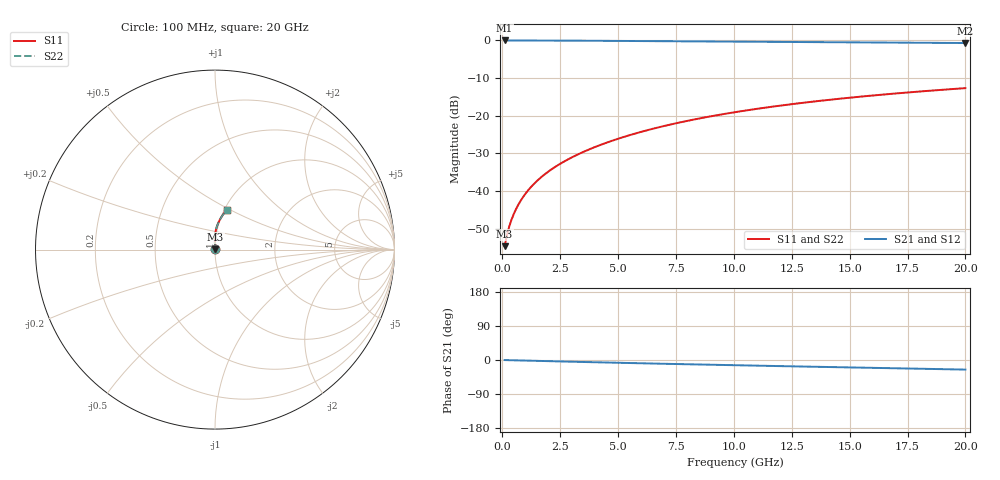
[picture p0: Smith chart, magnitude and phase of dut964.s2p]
! Touchstone file exported from HFSS 2024.1.0
!  File:  C:/UserFiles/LocalFiles/RDL_TSV_Batchsim/temp_RDL_top_964_1779938551.aedt
!  Generated:  11:24:54 AM May 28, 2026
!  Design:  RDL_top
!  Project:  temp_RDL_top_964_1779938551
!  Setup:  Setup1
!  Solution:  Sweep
! Variables:
!  dtsv = 10.80580581um
!  hbump = 3um
!  htsv = 64.12um
!  ldown = 100um
!  lrdl = 351.26um
!  p = 40
!  p1 = 51.87um
!  rhole = 1um
!  t = 450um
!  tdown = 3.915915916um
!  trdl = 3.55um
!  wdown = 15.38538539um
!  wrdl = 27.33um
# GHz S MA R 50.000000
! Terminal data exported
! Port[1] = Box2_T1
! Port[2] = Box2_T2
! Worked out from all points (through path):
!   200 points, 100 MHz to 20 GHz, reference 50 ohm
!   highest |S21| = -0.01 dB at 100 MHz (marker M1); lowest = -0.7 dB at 20 GHz (marker M2)
!   group delay of S21, straight-line fit = 3.46 ps
!   lowest |S11| = -54.7 dB at 100 MHz (marker M3), VSWR 1.00, Z = 50.2 + j0.103 ohm
!   |S11| at or under -10 dB: start of sweep to end of sweep
!   |S22| runs from -54.7 to -12.7 dB; largest |S21 - S12| = 2.6e-15
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0.1  0.001845 34.0  0.9985 -0.2  0.9985 -0.2  0.001845 34.0
! Gamma 0 0 0 0
! Port Impedance 50 0 50 0
0.2  0.002572 50.8  0.9983 -0.3  0.9983 -0.3  0.002572 50.8
0.3  0.003363 59.5  0.9982 -0.5  0.9982 -0.5  0.003363 59.5
0.4  0.004163 65.0  0.9981 -0.6  0.9981 -0.6  0.004163 65.0
0.5  0.004971 69.0  0.998 -0.8  0.998 -0.8  0.004971 69.0
0.6  0.005791 72.0  0.9979 -0.9  0.9979 -0.9  0.005791 72.0
0.8  0.007465 76.4  0.9976 -1.2  0.9976 -1.2  0.007465 76.4
1.1  0.01005 80.6  0.9972 -1.7  0.9972 -1.7  0.01005 80.6
1.3  0.01181 82.5  0.9969 -2.0  0.9969 -2.0  0.01181 82.6
1.6  0.0145 84.7  0.9964 -2.5  0.9964 -2.5  0.0145 84.7
2.1  0.01912 87.2  0.9952 -3.2  0.9952 -3.2  0.01912 87.2
2.7  0.02489 89.1  0.9935 -4.1  0.9935 -4.1  0.02489 89.1
3.5  0.03299 90.6  0.9908 -5.3  0.9908 -5.3  0.03299 90.6
4.2  0.04044 91.3  0.9882 -6.2  0.9882 -6.2  0.04044 91.3
5  0.04935 91.6  0.9848 -7.4  0.9848 -7.4  0.04935 91.6
6.8  0.07062 90.9  0.9769 -9.7  0.9769 -9.7  0.07063 90.9
8.4  0.09044 89.3  0.9698 -11.8  0.9698 -11.8  0.09045 89.4
10.1  0.1119 87.2  0.9625 -13.9  0.9625 -13.9  0.1119 87.2
11.7  0.1322 85.0  0.9558 -15.8  0.9558 -15.8  0.1322 85.0
13.4  0.1535 82.5  0.9489 -17.8  0.9489 -17.8  0.1535 82.6
16.7  0.1938 77.8  0.9359 -21.6  0.9359 -21.6  0.1938 77.8
20  0.2322 73.3  0.9228 -25.3  0.9228 -25.3  0.2322 73.3
